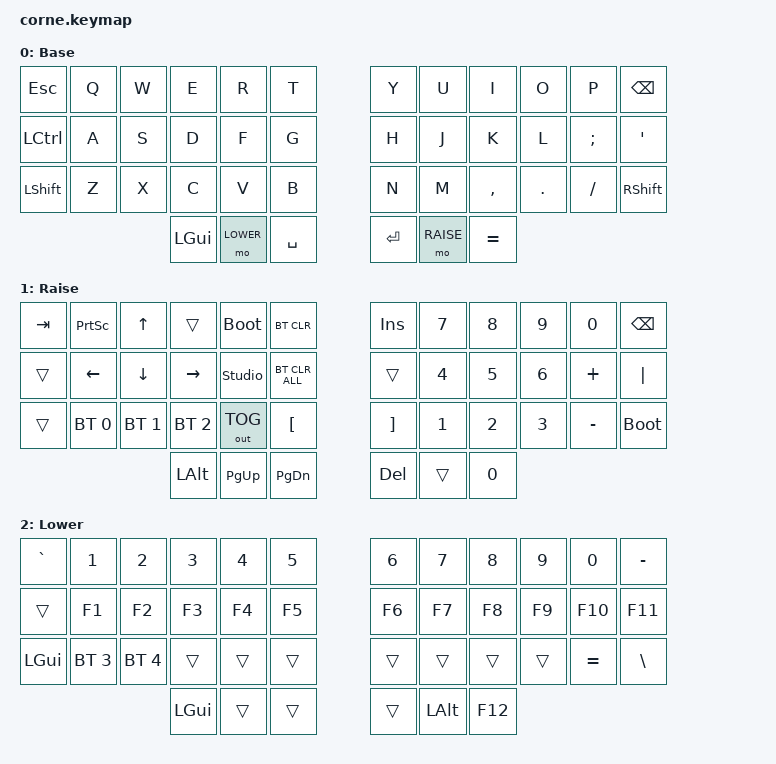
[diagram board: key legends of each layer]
/*
 * Aaron's Corne (42-key, 3x6+3) keymap for ZMK
 * Layers: 0 Base, 1 Raise (right middle thumb), 2 Lower (left middle thumb)
 * Drop this into the config/ folder of your zmk-config repo as corne.keymap.
 */

#include <behaviors.dtsi>
#include <dt-bindings/zmk/keys.h>
#include <dt-bindings/zmk/bt.h>
#include <dt-bindings/zmk/outputs.h>

#define BASE  0
#define RAISE 1
#define LOWER 2

/ {
    keymap {
        compatible = "zmk,keymap";

        base_layer {
            display-name = "Base";
            bindings = <
  &kp ESC    &kp Q  &kp W  &kp E  &kp R  &kp T                           &kp Y  &kp U  &kp I      &kp O    &kp P     &kp BSPC
  &kp LCTRL  &kp A  &kp S  &kp D  &kp F  &kp G                           &kp H  &kp J  &kp K      &kp L    &kp SEMI  &kp SQT
  &kp LSHFT  &kp Z  &kp X  &kp C  &kp V  &kp B                           &kp N  &kp M  &kp COMMA  &kp DOT  &kp FSLH  &kp RSHFT
                           &kp LGUI  &mo LOWER  &kp SPACE    &kp RET  &mo RAISE  &kp EQUAL
            >;
        };

        raise_layer {
            display-name = "Raise";
            bindings = <
  &kp TAB  &kp PSCRN  &kp UP        &trans        &bootloader    &bt BT_CLR          &kp INS   &kp N7  &kp N8  &kp N9  &kp N0     &kp BSPC
  &trans   &kp LEFT   &kp DOWN      &kp RIGHT     &studio_unlock &bt BT_CLR_ALL      &trans    &kp N4  &kp N5  &kp N6  &kp PLUS   &kp PIPE
  &trans   &bt BT_SEL 0  &bt BT_SEL 1  &bt BT_SEL 2  &out OUT_TOG  &kp LBKT          &kp RBKT  &kp N1  &kp N2  &kp N3  &kp MINUS  &bootloader
                           &kp LALT  &kp PG_UP  &kp PG_DN    &kp DEL  &trans  &kp N0
            >;
        };

        lower_layer {
            display-name = "Lower";
            bindings = <
  &kp GRAVE  &kp N1  &kp N2  &kp N3  &kp N4  &kp N5                      &kp N6  &kp N7  &kp N8  &kp N9   &kp N0     &kp MINUS
  &trans     &kp F1  &kp F2  &kp F3  &kp F4  &kp F5                      &kp F6  &kp F7  &kp F8  &kp F9   &kp F10    &kp F11
  &kp LGUI   &bt BT_SEL 3  &bt BT_SEL 4  &trans  &trans  &trans        &trans  &trans  &trans  &trans   &kp EQUAL  &kp BSLH
                           &kp LGUI  &trans  &trans                &trans  &kp LALT  &kp F12
            >;
        };
    };
};
